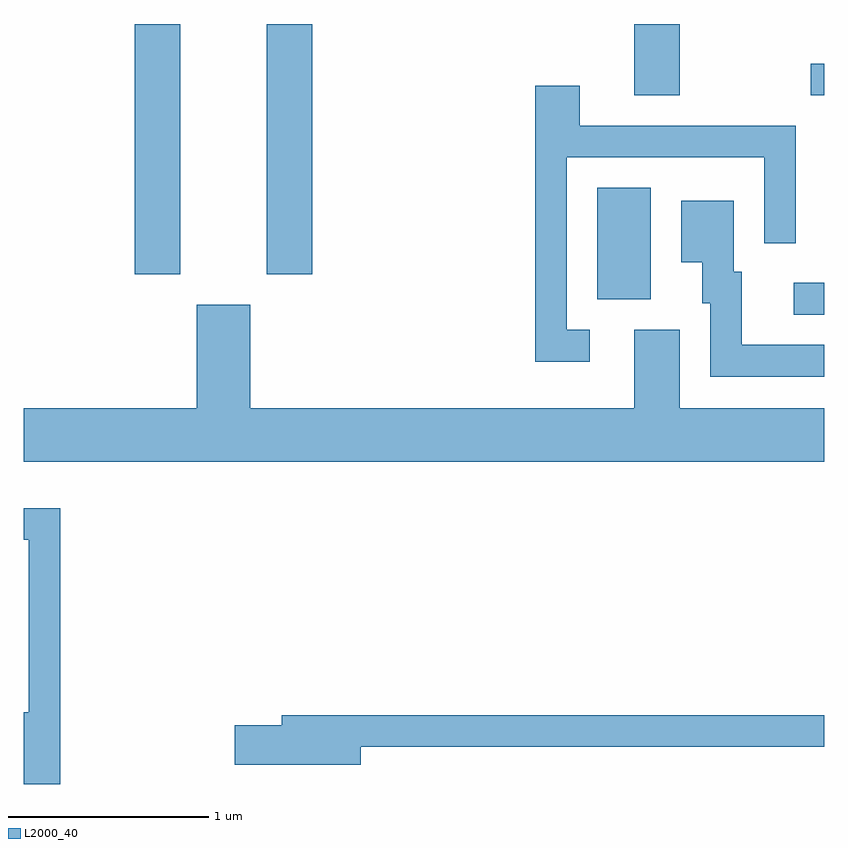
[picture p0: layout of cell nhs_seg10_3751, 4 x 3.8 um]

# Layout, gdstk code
import gdstk
lib = gdstk.Library(unit=1e-6, precision=1e-09)
def R(c, l, rs):  # rectangles x0, y0, x1, y1
    for r in rs: c.add(gdstk.rectangle(r[:2], r[2:], *l))
def P(c, l, *ps):  # polygons
    for p in ps: c.add(gdstk.Polygon(p, *l))
L2000_40 = (2000, 40)

nhs_seg10_3751 = lib.new_cell('nhs_seg10_3751')
R(nhs_seg10_3751, L2000_40, [(299.458,2139.071,299.611,2139.229), (298.476,2139.146,298.744,2139.704), (296.166,2139.271,296.394,2140.522), (296.826,2139.271,297.054,2140.522), (298.661,2140.166,298.889,2140.522), (299.543,2140.166,299.611,2140.324)])
P(nhs_seg10_3751, L2000_40, [(298.438,2138.994),(298.324,2138.994),(298.324,2139.856),(299.311,2139.856),(299.311,2139.428),(299.469,2139.428),(299.469,2140.014),(298.389,2140.014),(298.389,2140.214),(298.166,2140.214),(298.166,2138.836),(298.438,2138.836)],
  [(299.611,2138.919),(299.199,2138.919),(299.199,2139.284),(299.159,2139.284),(299.159,2139.639),(298.896,2139.639),(298.896,2139.331),(299.001,2139.331),(299.001,2139.126),(299.041,2139.126),(299.041,2138.761),(299.611,2138.761)],
  [(299.611,2138.604),(298.889,2138.604),(298.889,2138.994),(298.661,2138.994),(298.661,2138.604),(296.744,2138.604),(296.744,2139.119),(296.476,2139.119),(296.476,2138.604),(295.611,2138.604),(295.611,2138.336),(299.611,2138.336)],
  [(295.794,2138.104),(295.611,2138.104),(295.611,2137.946),(295.636,2137.946),(295.636,2137.084),(295.611,2137.084),(295.611,2136.726),(295.794,2136.726)],
  [(297.294,2136.911),(299.611,2136.911),(299.611,2137.069),(296.901,2137.069),(296.901,2137.019),(296.666,2137.019),(296.666,2136.821),(297.294,2136.821)])

lib.write_gds('nhs_seg10_3751.gds')
